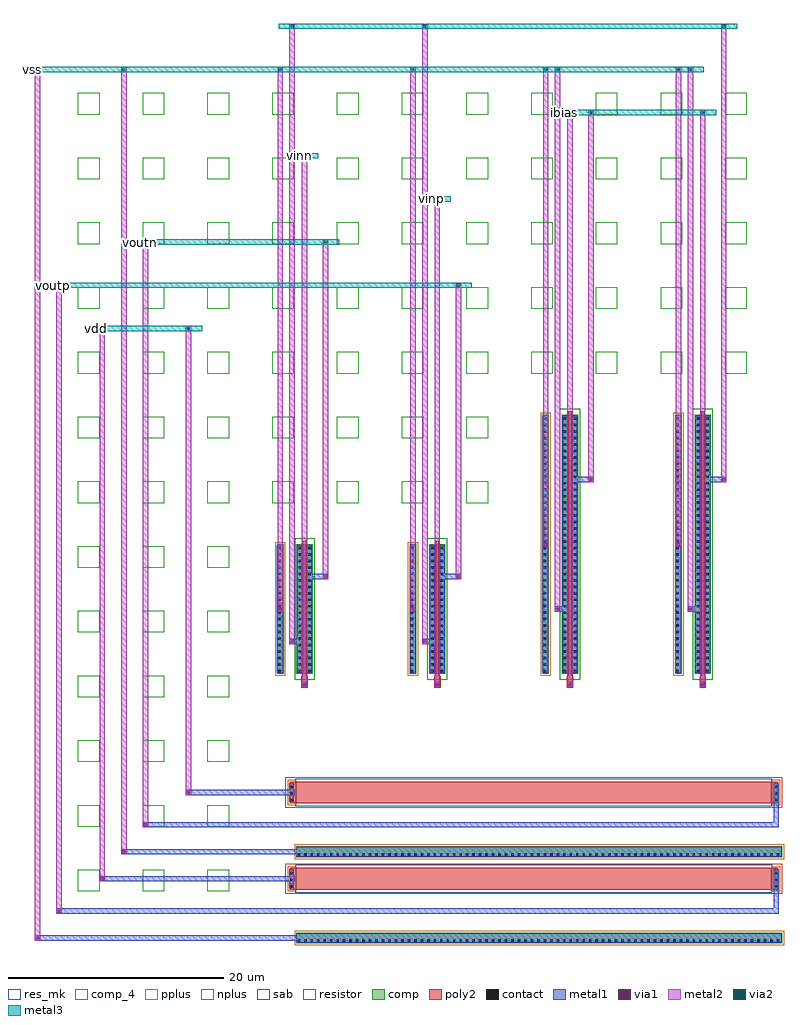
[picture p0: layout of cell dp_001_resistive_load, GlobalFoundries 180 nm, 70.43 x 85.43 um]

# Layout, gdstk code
import gdstk
lib = gdstk.Library(unit=1e-6, precision=1e-09)
def R(c, l, rs):  # rectangles x0, y0, x1, y1
    for r in rs: c.add(gdstk.rectangle(r[:2], r[2:], *l))
def A(c, l, x, y, w, h, nx, ny, dx, dy):  # array of equal rectangles
    R(c, l, [(x+i*dx, y+j*dy, x+i*dx+w, y+j*dy+h) for i in range(nx) for j in range(ny)])
comp = (22, 0)
comp_4 = (22, 4)
poly2 = (30, 0)
pplus = (31, 0)
nplus = (32, 0)
contact = (33, 0)
metal1 = (34, 0)
via1 = (35, 0)
metal2 = (36, 0)
via2 = (38, 0)
metal3 = (42, 0)
sab = (49, 0)
resistor = (62, 0)
res_mk = (110, 5)

dp_001_resistive_load = lib.new_cell('dp_001_resistive_load')
R(dp_001_resistive_load, comp, [(0,-25,45,-24), (0,-17,45,-16), (-1.8,0,-1.2,12), (0,0,1.5,12), (10.5,0,11.1,12), (12.3,0,13.8,12), (22.8,0,23.4,24), (24.6,0,26.1,24), (35.1,0,35.7,24), (36.9,0,38.4,24)])
A(dp_001_resistive_load, comp_4, -20.25, -20.18, 2, 2, 3, 6, 6, 6)
A(dp_001_resistive_load, comp_4, -20.25, 15.82, 2, 2, 7, 2, 6, 6)
A(dp_001_resistive_load, comp_4, -20.25, 27.82, 2, 2, 11, 5, 6, 6)
A(dp_001_resistive_load, poly2, 0.45, -1.3, 0.6, 1.05, 4, 1, 12.3, 0)
R(dp_001_resistive_load, poly2, [(-0.64,-20,44.64,-18), (-0.64,-12,44.64,-10), (0.6,-0.3,0.9,12.3), (12.9,-0.3,13.2,12.3), (25.2,-0.3,25.5,24.3), (37.5,-0.3,37.8,24.3)])
R(dp_001_resistive_load, pplus, [(-0.18,-25.18,45.18,-23.82), (-0.82,-20.18,0,-17.82), (44,-20.18,44.82,-17.82), (-0.18,-17.18,45.18,-15.82), (-0.82,-12.18,0,-9.82), (44,-12.18,44.82,-9.82), (-1.98,-0.18,-1.02,12.18), (10.32,-0.18,11.28,12.18), (22.62,-0.18,23.58,24.18), (34.92,-0.18,35.88,24.18)])
R(dp_001_resistive_load, nplus, [(-0.18,-0.55,1.68,12.55), (12.12,-0.55,13.98,12.55), (24.42,-0.55,26.28,24.55), (36.72,-0.55,38.58,24.55)])
A(dp_001_resistive_load, contact, 0.11, -24.85, 0.22, 0.22, 75, 2, 0.6, 8)
A(dp_001_resistive_load, contact, -0.57, -19.8, 0.22, 0.22, 1, 3, 0, 0.6)
A(dp_001_resistive_load, contact, 44.35, -19.8, 0.22, 0.22, 1, 3, 0, 0.6)
A(dp_001_resistive_load, contact, -0.57, -11.8, 0.22, 0.22, 1, 3, 0, 0.6)
A(dp_001_resistive_load, contact, 44.35, -11.8, 0.22, 0.22, 1, 3, 0, 0.6)
A(dp_001_resistive_load, contact, 0.64, -1.11, 0.22, 0.22, 4, 1, 12.3, 0)
A(dp_001_resistive_load, contact, 0.19, 0.14, 0.22, 0.22, 1, 20, 0, 0.6)
A(dp_001_resistive_load, contact, 1.09, 0.14, 0.22, 0.22, 1, 20, 0, 0.6)
A(dp_001_resistive_load, contact, 12.49, 0.14, 0.22, 0.22, 1, 20, 0, 0.6)
A(dp_001_resistive_load, contact, 13.39, 0.14, 0.22, 0.22, 1, 20, 0, 0.6)
A(dp_001_resistive_load, contact, 24.79, 0.14, 0.22, 0.22, 1, 40, 0, 0.6)
A(dp_001_resistive_load, contact, 25.69, 0.14, 0.22, 0.22, 1, 40, 0, 0.6)
A(dp_001_resistive_load, contact, 37.09, 0.14, 0.22, 0.22, 1, 40, 0, 0.6)
A(dp_001_resistive_load, contact, 37.99, 0.14, 0.22, 0.22, 1, 40, 0, 0.6)
A(dp_001_resistive_load, contact, -1.69, 0.15, 0.22, 0.22, 4, 20, 12.3, 0.6)
A(dp_001_resistive_load, contact, 22.91, 12.15, 0.22, 0.22, 1, 20, 0, 0.6)
A(dp_001_resistive_load, contact, 35.21, 12.15, 0.22, 0.22, 1, 20, 0, 0.6)
A(dp_001_resistive_load, metal1, -0.01, -24.91, 0.46, 0.82, 75, 2, 0.6, 8)
R(dp_001_resistive_load, metal1, [(0.05,-24.95,44.95,-24.05), (-24.25,-24.75,-23.75,-24.25), (-22.25,-22.25,-21.75,-21.75), (-0.69,-19.86,-0.23,-18.14), (44.23,-19.86,44.69,-18.14), (-18.25,-19.25,-17.75,-18.75), (0.05,-16.95,44.95,-16.05), (-16.25,-16.75,-15.75,-16.25), (-14.25,-14.25,-13.75,-13.75), (-0.69,-11.86,-0.23,-10.14), (44.23,-11.86,44.69,-10.14), (-10.25,-11.25,-9.75,-10.75), (0.5,-1.25,1,-0.75), (0.5,-1.25,1,-0.75), (12.8,-1.25,13.3,-0.75), (12.8,-1.25,13.3,-0.75), (25.1,-1.25,25.6,-0.75), (25.1,-1.25,25.6,-0.75), (37.4,-1.25,37.9,-0.75), (37.4,-1.25,37.9,-0.75), (-1.75,0.05,-1.25,11.95), (10.55,0.05,11.05,11.95), (22.85,0.05,23.35,23.95), (35.15,0.05,35.65,23.95), (0.07,0.08,0.53,11.92), (0.97,0.08,1.43,11.92), (12.37,0.08,12.83,11.92), (13.27,0.08,13.73,11.92), (24.67,0.08,25.13,23.92), (25.57,0.08,26.03,23.92), (36.97,0.08,37.43,23.92), (37.87,0.08,38.33,23.92), (-1.81,0.09,-1.35,11.91), (10.49,0.09,10.95,11.91), (22.79,0.09,23.25,23.91), (35.09,0.09,35.55,23.91), (-0.65,2.75,-0.15,3.25), (11.65,2.75,12.15,3.25), (-1.75,5.75,-1.25,6.25), (10.55,5.75,11.05,6.25), (23.95,5.75,24.45,6.25), (36.25,5.75,36.75,6.25), (2.45,8.75,2.95,9.25), (14.75,8.75,15.25,9.25), (22.85,11.75,23.35,12.25), (35.15,11.75,35.65,12.25), (27.05,17.75,27.55,18.25), (39.35,17.75,39.85,18.25)])
A(dp_001_resistive_load, via1, 0.62, -1.13, 0.26, 0.26, 4, 1, 12.3, 0)
R(dp_001_resistive_load, via1, [(-24.13,-24.63,-23.87,-24.37), (-22.13,-22.13,-21.87,-21.87), (-18.13,-19.13,-17.87,-18.87), (-16.13,-16.63,-15.87,-16.37), (-14.13,-14.13,-13.87,-13.87), (-10.13,-11.13,-9.87,-10.87), (-0.53,2.87,-0.27,3.13), (11.77,2.87,12.03,3.13), (-1.63,5.87,-1.37,6.13), (10.67,5.87,10.93,6.13), (24.07,5.87,24.33,6.13), (36.37,5.87,36.63,6.13), (2.57,8.87,2.83,9.13), (14.87,8.87,15.13,9.13), (22.97,11.87,23.23,12.13), (35.27,11.87,35.53,12.13), (27.17,17.87,27.43,18.13), (39.47,17.87,39.73,18.13)])
A(dp_001_resistive_load, metal2, 0.5, -1.25, 0.5, 0.5, 4, 1, 12.3, 0)
A(dp_001_resistive_load, metal2, -1.75, 55.75, 0.5, 0.5, 3, 1, 12.3, 0)
R(dp_001_resistive_load, metal2, [(-24.25,-24.75,-23.75,-24.25), (-22.25,-22.25,-21.75,-21.75), (-18.25,-19.25,-17.75,-18.75), (-16.25,-16.75,-15.75,-16.25), (-14.25,-14.25,-13.75,-13.75), (-10.25,-11.25,-9.75,-10.75), (-0.65,2.75,-0.15,3.25), (11.65,2.75,12.15,3.25), (-1.75,5.75,-1.25,6.25), (10.55,5.75,11.05,6.25), (23.95,5.75,24.45,6.25), (36.25,5.75,36.75,6.25), (2.45,8.75,2.95,9.25), (14.75,8.75,15.25,9.25), (22.85,11.75,23.35,12.25), (35.15,11.75,35.65,12.25), (27.05,17.75,27.55,18.25), (39.35,17.75,39.85,18.25), (-18.25,31.75,-17.75,32.25), (-10.25,31.75,-9.75,32.25), (-22.25,35.75,-21.75,36.25), (14.75,35.75,15.25,36.25), (-14.25,39.75,-13.75,40.25), (2.45,39.75,2.95,40.25), (12.8,43.75,13.3,44.25), (0.5,47.75,1,48.25), (25.1,51.75,25.6,52.25), (27.05,51.75,27.55,52.25), (37.4,51.75,37.9,52.25), (-24.25,55.75,-23.75,56.25), (-16.25,55.75,-15.75,56.25), (23.95,55.75,24.45,56.25), (35.15,55.75,35.65,56.25), (36.25,55.75,36.75,56.25), (-0.65,59.75,-0.15,60.25), (11.65,59.75,12.15,60.25), (39.35,59.75,39.85,60.25)])
A(dp_001_resistive_load, via2, -1.63, 55.87, 0.26, 0.26, 3, 1, 12.3, 0)
R(dp_001_resistive_load, via2, [(-18.13,31.87,-17.87,32.13), (-10.13,31.87,-9.87,32.13), (-22.13,35.87,-21.87,36.13), (14.87,35.87,15.13,36.13), (-14.13,39.87,-13.87,40.13), (2.57,39.87,2.83,40.13), (12.92,43.87,13.18,44.13), (0.62,47.87,0.88,48.13), (25.22,51.87,25.48,52.13), (27.17,51.87,27.43,52.13), (37.52,51.87,37.78,52.13), (-24.13,55.87,-23.87,56.13), (-16.13,55.87,-15.87,56.13), (24.07,55.87,24.33,56.13), (35.27,55.87,35.53,56.13), (36.37,55.87,36.63,56.13), (-0.53,59.87,-0.27,60.13), (11.77,59.87,12.03,60.13), (39.47,59.87,39.73,60.13)])
A(dp_001_resistive_load, metal3, -1.75, 55.75, 0.5, 0.5, 3, 1, 12.3, 0)
R(dp_001_resistive_load, metal3, [(-18.25,31.75,-17.75,32.25), (-10.25,31.75,-9.75,32.25), (-22.25,35.75,-21.75,36.25), (14.75,35.75,15.25,36.25), (-14.25,39.75,-13.75,40.25), (2.45,39.75,2.95,40.25), (12.8,43.75,13.3,44.25), (0.5,47.75,1,48.25), (25.1,51.75,25.6,52.25), (27.05,51.75,27.55,52.25), (37.4,51.75,37.9,52.25), (-24.25,55.75,-23.75,56.25), (-16.25,55.75,-15.75,56.25), (23.95,55.75,24.45,56.25), (35.15,55.75,35.65,56.25), (36.25,55.75,36.75,56.25), (-0.65,59.75,-0.15,60.25), (11.65,59.75,12.15,60.25), (39.35,59.75,39.85,60.25)])
R(dp_001_resistive_load, sab, [(-0.1,-20.28,44.1,-17.72), (-0.1,-12.28,44.1,-9.72)])
R(dp_001_resistive_load, resistor, [(-1.04,-20.4,45.04,-17.6), (-1.04,-12.4,45.04,-9.6)])
R(dp_001_resistive_load, res_mk, [(0,-20,44,-18), (0,-12,44,-10)])
dp_001_resistive_load.add(gdstk.FlexPath([(0.3,3),(-0.4,3)], 0.5, ends="extended", simple_path=True, layer=34, datatype=0))  # metal1
dp_001_resistive_load.add(gdstk.FlexPath([(1.2,9),(2.7,9)], 0.5, ends="extended", simple_path=True, layer=34, datatype=0))  # metal1
dp_001_resistive_load.add(gdstk.FlexPath([(12.6,3),(11.9,3)], 0.5, ends="extended", simple_path=True, layer=34, datatype=0))  # metal1
dp_001_resistive_load.add(gdstk.FlexPath([(13.5,9),(15,9)], 0.5, ends="extended", simple_path=True, layer=34, datatype=0))  # metal1
dp_001_resistive_load.add(gdstk.FlexPath([(24.9,6),(24.2,6)], 0.5, ends="extended", simple_path=True, layer=34, datatype=0))  # metal1
dp_001_resistive_load.add(gdstk.FlexPath([(25.8,18),(27.3,18)], 0.5, ends="extended", simple_path=True, layer=34, datatype=0))  # metal1
dp_001_resistive_load.add(gdstk.FlexPath([(37.2,6),(36.5,6)], 0.5, ends="extended", simple_path=True, layer=34, datatype=0))  # metal1
dp_001_resistive_load.add(gdstk.FlexPath([(38.1,18),(39.6,18)], 0.5, ends="extended", simple_path=True, layer=34, datatype=0))  # metal1
dp_001_resistive_load.add(gdstk.FlexPath([(-0.46,-11),(-10,-11)], 0.5, ends="extended", simple_path=True, layer=34, datatype=0))  # metal1
dp_001_resistive_load.add(gdstk.FlexPath([(44.46,-11),(44.46,-14)], 0.5, ends="extended", simple_path=True, layer=34, datatype=0))  # metal1
dp_001_resistive_load.add(gdstk.FlexPath([(44.46,-14),(-14,-14)], 0.5, ends="extended", simple_path=True, layer=34, datatype=0))  # metal1
dp_001_resistive_load.add(gdstk.FlexPath([(22.5,-16.5),(-16,-16.5)], 0.5, ends="extended", simple_path=True, layer=34, datatype=0))  # metal1
dp_001_resistive_load.add(gdstk.FlexPath([(-0.46,-19),(-18,-19)], 0.5, ends="extended", simple_path=True, layer=34, datatype=0))  # metal1
dp_001_resistive_load.add(gdstk.FlexPath([(44.46,-19),(44.46,-22)], 0.5, ends="extended", simple_path=True, layer=34, datatype=0))  # metal1
dp_001_resistive_load.add(gdstk.FlexPath([(44.46,-22),(-22,-22)], 0.5, ends="extended", simple_path=True, layer=34, datatype=0))  # metal1
dp_001_resistive_load.add(gdstk.FlexPath([(22.5,-24.5),(-24,-24.5)], 0.5, ends="extended", simple_path=True, layer=34, datatype=0))  # metal1
dp_001_resistive_load.add(gdstk.FlexPath([(-19,32),(-9,32)], 0.5, ends="extended", simple_path=True, layer=42, datatype=0))  # metal3
dp_001_resistive_load.add(gdstk.FlexPath([(-23,36),(16,36)], 0.5, ends="extended", simple_path=True, layer=42, datatype=0))  # metal3
dp_001_resistive_load.add(gdstk.FlexPath([(-15,40),(3.7,40)], 0.5, ends="extended", simple_path=True, layer=42, datatype=0))  # metal3
dp_001_resistive_load.add(gdstk.FlexPath([(12.05,44),(14.05,44)], 0.5, ends="extended", simple_path=True, layer=42, datatype=0))  # metal3
dp_001_resistive_load.add(gdstk.FlexPath([(-0.25,48),(1.75,48)], 0.5, ends="extended", simple_path=True, layer=42, datatype=0))  # metal3
dp_001_resistive_load.add(gdstk.FlexPath([(24.35,52),(38.65,52)], 0.5, ends="extended", simple_path=True, layer=42, datatype=0))  # metal3
dp_001_resistive_load.add(gdstk.FlexPath([(-25,56),(37.5,56)], 0.5, ends="extended", simple_path=True, layer=42, datatype=0))  # metal3
dp_001_resistive_load.add(gdstk.FlexPath([(-1.4,60),(40.6,60)], 0.5, ends="extended", simple_path=True, layer=42, datatype=0))  # metal3
dp_001_resistive_load.add(gdstk.FlexPath([(-10,-11),(-10,32)], 0.5, ends="extended", simple_path=True, layer=36, datatype=0))  # metal2
dp_001_resistive_load.add(gdstk.FlexPath([(-18,-19),(-18,32)], 0.5, ends="extended", simple_path=True, layer=36, datatype=0))  # metal2
dp_001_resistive_load.add(gdstk.FlexPath([(15,9),(15,36)], 0.5, ends="extended", simple_path=True, layer=36, datatype=0))  # metal2
dp_001_resistive_load.add(gdstk.FlexPath([(-22,-22),(-22,36)], 0.5, ends="extended", simple_path=True, layer=36, datatype=0))  # metal2
dp_001_resistive_load.add(gdstk.FlexPath([(2.7,9),(2.7,40)], 0.5, ends="extended", simple_path=True, layer=36, datatype=0))  # metal2
dp_001_resistive_load.add(gdstk.FlexPath([(-14,-14),(-14,40)], 0.5, ends="extended", simple_path=True, layer=36, datatype=0))  # metal2
dp_001_resistive_load.add(gdstk.FlexPath([(13.05,-1),(13.05,44)], 0.5, ends="extended", simple_path=True, layer=36, datatype=0))  # metal2
dp_001_resistive_load.add(gdstk.FlexPath([(0.75,-1),(0.75,48)], 0.5, ends="extended", simple_path=True, layer=36, datatype=0))  # metal2
dp_001_resistive_load.add(gdstk.FlexPath([(27.3,18),(27.3,52)], 0.5, ends="extended", simple_path=True, layer=36, datatype=0))  # metal2
dp_001_resistive_load.add(gdstk.FlexPath([(25.35,-1),(25.35,52)], 0.5, ends="extended", simple_path=True, layer=36, datatype=0))  # metal2
dp_001_resistive_load.add(gdstk.FlexPath([(37.65,-1),(37.65,52)], 0.5, ends="extended", simple_path=True, layer=36, datatype=0))  # metal2
dp_001_resistive_load.add(gdstk.FlexPath([(-1.5,6),(-1.5,56)], 0.5, ends="extended", simple_path=True, layer=36, datatype=0))  # metal2
dp_001_resistive_load.add(gdstk.FlexPath([(10.8,6),(10.8,56)], 0.5, ends="extended", simple_path=True, layer=36, datatype=0))  # metal2
dp_001_resistive_load.add(gdstk.FlexPath([(24.2,6),(24.2,56)], 0.5, ends="extended", simple_path=True, layer=36, datatype=0))  # metal2
dp_001_resistive_load.add(gdstk.FlexPath([(23.1,12),(23.1,56)], 0.5, ends="extended", simple_path=True, layer=36, datatype=0))  # metal2
dp_001_resistive_load.add(gdstk.FlexPath([(36.5,6),(36.5,56)], 0.5, ends="extended", simple_path=True, layer=36, datatype=0))  # metal2
dp_001_resistive_load.add(gdstk.FlexPath([(35.4,12),(35.4,56)], 0.5, ends="extended", simple_path=True, layer=36, datatype=0))  # metal2
dp_001_resistive_load.add(gdstk.FlexPath([(-16,-16.5),(-16,56)], 0.5, ends="extended", simple_path=True, layer=36, datatype=0))  # metal2
dp_001_resistive_load.add(gdstk.FlexPath([(-24,-24.5),(-24,56)], 0.5, ends="extended", simple_path=True, layer=36, datatype=0))  # metal2
dp_001_resistive_load.add(gdstk.FlexPath([(-0.4,3),(-0.4,60)], 0.5, ends="extended", simple_path=True, layer=36, datatype=0))  # metal2
dp_001_resistive_load.add(gdstk.FlexPath([(11.9,3),(11.9,60)], 0.5, ends="extended", simple_path=True, layer=36, datatype=0))  # metal2
dp_001_resistive_load.add(gdstk.FlexPath([(39.6,18),(39.6,60)], 0.5, ends="extended", simple_path=True, layer=36, datatype=0))  # metal2
dp_001_resistive_load.add(gdstk.Label('vdd', (-18.5,32), layer=42, texttype=10))
dp_001_resistive_load.add(gdstk.Label('voutp', (-22.5,36), layer=42, texttype=10))
dp_001_resistive_load.add(gdstk.Label('voutn', (-14.5,40), layer=42, texttype=10))
dp_001_resistive_load.add(gdstk.Label('vinp', (12.55,44), layer=42, texttype=10))
dp_001_resistive_load.add(gdstk.Label('vinn', (0.25,48), layer=42, texttype=10))
dp_001_resistive_load.add(gdstk.Label('ibias', (24.85,52), layer=42, texttype=10))
dp_001_resistive_load.add(gdstk.Label('vss', (-24.5,56), layer=42, texttype=10))

lib.write_gds('dp_001_resistive_load.gds')
